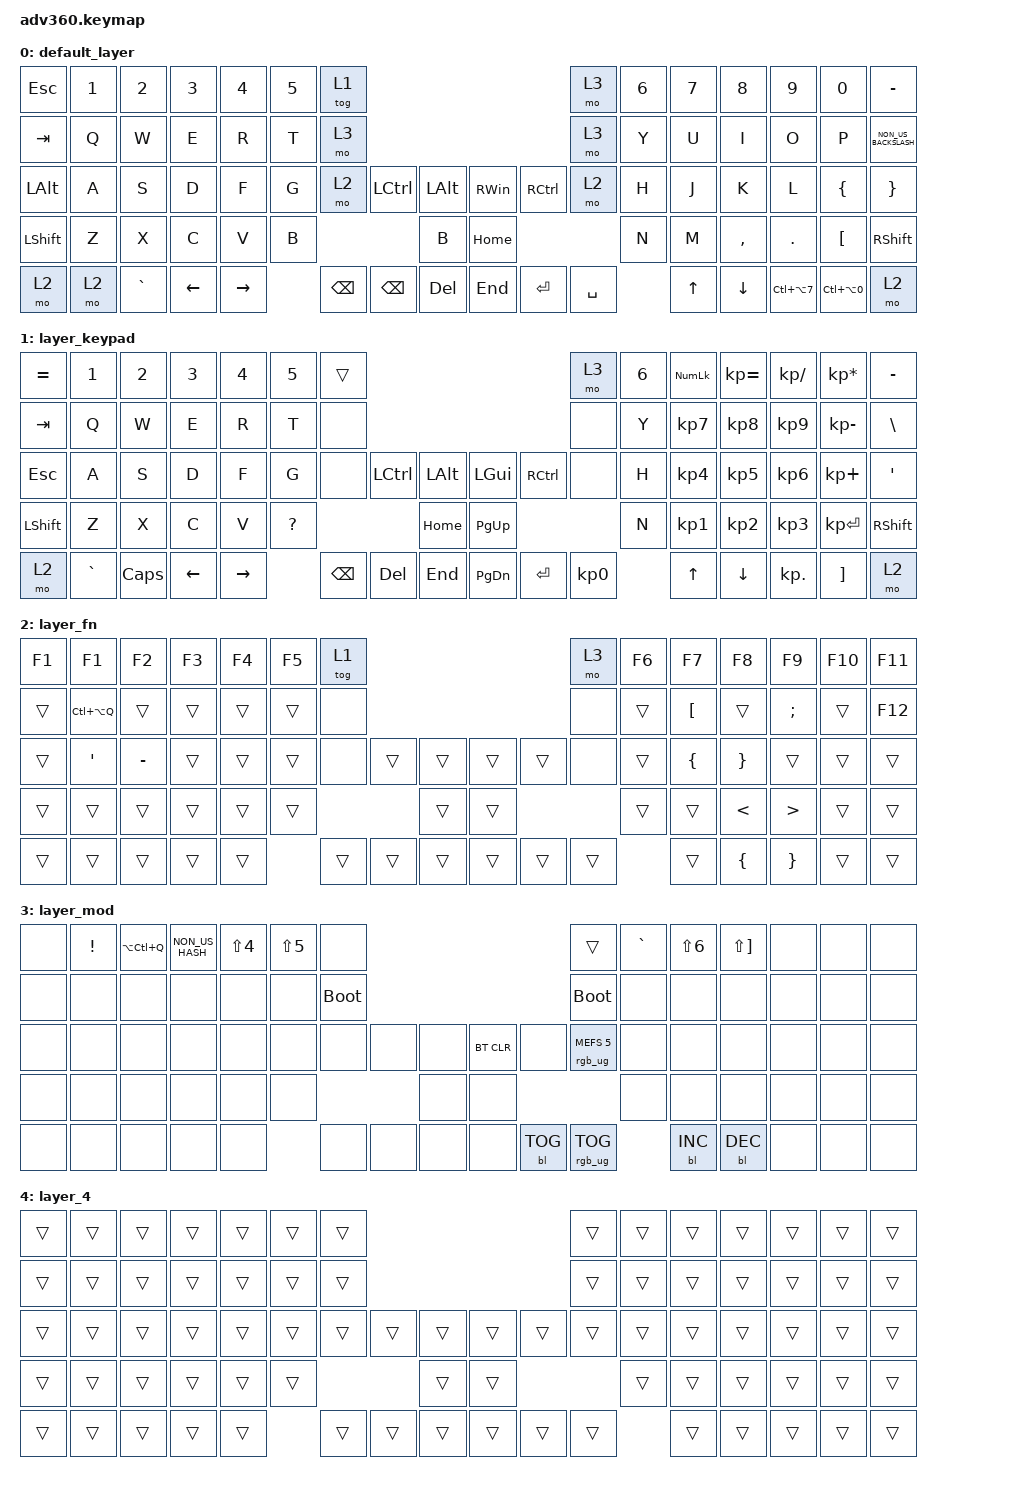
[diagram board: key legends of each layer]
/*
 * Copyright (c) 2020 The ZMK Contributors
 *
 * SPDX-License-Identifier: MIT
 */
/* THIS FILE WAS GENERATED!
 *
 * This file was generated automatically. You may or may not want to
 * edit it directly.
 */

#include <behaviors.dtsi>
#include <dt-bindings/zmk/backlight.h>
#include <dt-bindings/zmk/bt.h>
#include <dt-bindings/zmk/keys.h>
#include <dt-bindings/zmk/rgb.h>

/ {
    behaviors {
        #include "macros.dtsi"

        hm: homerow_mods {
            compatible = "zmk,behavior-hold-tap";
            label = "HOMEROW_MODS";
            #binding-cells = <2>;
            tapping-term-ms = <200>;
            quick_tap_ms = <175>;
            flavor = "tap-preferred";
            bindings = <&kp>, <&kp>;
        };
    };

    macros {
        taskmanager: taskmanager {
            compatible = "zmk,behavior-macro";
            #binding-cells = <0>;
            bindings = <&sk LEFT_WIN &kp R>;
            label = "TASKMANAGER";
        };

        test: test {
            compatible = "zmk,behavior-macro";
            #binding-cells = <0>;
            bindings = <&kp LS(I) &kp C &kp H>;
            label = "TEST";
        };

        alttab: alttab {
            compatible = "zmk,behavior-macro";
            #binding-cells = <0>;
            bindings = <&sk LEFT_ALT &kp TAB>;
            label = "ALTTAB";
        };

        leftBracket: leftBracket {
            compatible = "zmk,behavior-macro";
            #binding-cells = <0>;
            bindings = <&kp LA(LC(N8))>;
            label = "LEFTBRACKET";
        };

        rightBracket: rightBracket {
            compatible = "zmk,behavior-macro";
            #binding-cells = <0>;
            bindings = <&kp LC(LA(N9))>;
            label = "RIGHTBRACKET";
        };
    };

    combos {
        compatible = "zmk,combos";

        taskmanager {
            bindings = <&taskmanager>;
            key-positions = <32 41>;
        };

        leftBracket {
            bindings = <&leftBracket>;
            key-positions = <46 73>;
        };

        rightBracket {
            bindings = <&rightBracket>;
            key-positions = <46 74>;
        };
    };

    keymap {
        compatible = "zmk,keymap";

        default_layer {
            bindings = <
&kp ESCAPE      &kp N1  &kp N2     &kp N3    &kp N4     &kp N5  &tog 1                                                                               &mo 3      &kp N6  &kp N7        &kp N8     &kp N9          &kp N0            &kp MINUS
&kp TAB         &kp Q   &kp W      &kp E     &kp R      &kp T   &mo 3                                                                                &mo 3      &kp Y   &kp U         &kp I      &kp O           &kp P             &kp NON_US_BACKSLASH
&kp LEFT_ALT    &kp A   &kp S      &kp D     &kp F      &kp G   &mo 2          &kp LEFT_CONTROL  &kp LEFT_ALT      &kp RIGHT_WIN  &kp RIGHT_CONTROL  &mo 2      &kp H   &kp J         &kp K      &kp L           &kp LEFT_BRACE    &kp RIGHT_BRACE
&kp LEFT_SHIFT  &kp Z   &kp X      &kp C     &kp V      &kp B                                    &kp B             &kp HOME                                     &kp N   &kp M         &kp COMMA  &kp DOT         &kp LEFT_BRACKET  &kp RIGHT_SHIFT
&mo 2           &mo 2   &kp GRAVE  &kp LEFT  &kp RIGHT          &kp BACKSPACE  &kp BSPC          &kp DEL           &kp END        &kp ENTER          &kp SPACE          &kp UP_ARROW  &kp DOWN   &kp LC(LA(N7))  &kp LC(LA(N0))    &mo 2
            >;
        };

        layer_keypad {
            bindings = <
&kp EQUAL  &kp N1     &kp N2    &kp N3    &kp N4     &kp N5        &trans                                                   &mo 3      &kp N6  &kp KP_NUM  &kp KP_EQUAL  &kp KP_DIVIDE  &kp KP_MULTIPLY  &kp MINUS
&kp TAB    &kp Q      &kp W     &kp E     &kp R      &kp T         &none                                                    &none      &kp Y   &kp KP_N7   &kp KP_N8     &kp KP_N9      &kp KP_MINUS     &kp BSLH
&kp ESC    &kp A      &kp S     &kp D     &kp F      &kp G         &none     &kp LCTRL  &kp LALT      &kp LGUI   &kp RCTRL  &none      &kp H   &kp KP_N4   &kp KP_N5     &kp KP_N6      &kp KP_PLUS      &kp SQT
&kp LSHFT  &kp Z      &kp X     &kp C     &kp V      &kp QUESTION                       &kp HOME      &kp PG_UP                        &kp N   &kp KP_N1   &kp KP_N2     &kp KP_N3      &kp KP_ENTER     &kp RSHFT
&mo 2      &kp GRAVE  &kp CAPS  &kp LEFT  &kp RIGHT                &kp BSPC  &kp DEL    &kp END       &kp PG_DN  &kp ENTER  &kp KP_N0          &kp UP      &kp DOWN      &kp KP_DOT     &kp RBKT         &mo 2
            >;
        };

        layer_fn {
            bindings = <
&kp F1  &kp F1         &kp F2     &kp F3  &kp F4  &kp F5  &tog 1                                      &mo 3   &kp F6  &kp F7            &kp F8           &kp F9            &kp F10  &kp F11
&trans  &kp LC(LA(Q))  &trans     &trans  &trans  &trans  &none                                       &none   &trans  &kp LEFT_BRACKET  &trans           &kp SEMICOLON     &trans   &kp F12
&trans  &kp SQT        &kp MINUS  &trans  &trans  &trans  &none   &trans  &trans      &trans  &trans  &none   &trans  &kp LEFT_BRACE    &kp RIGHT_BRACE  &trans            &trans   &trans
&trans  &trans         &trans     &trans  &trans  &trans                  &trans      &trans                  &trans  &trans            &kp LESS_THAN    &kp GREATER_THAN  &trans   &trans
&trans  &trans         &trans     &trans  &trans          &trans  &trans  &trans      &trans  &trans  &trans          &trans            &kp LEFT_BRACE   &kp RIGHT_BRACE   &trans   &trans
            >;
        };

        layer_mod {
            bindings = <
&none  &kp EXCLAMATION  &kp LA(LC(Q))  &kp NON_US_HASH  &kp LS(N4)  &kp LS(N5)  &none                                                  &trans                  &kp GRAVE  &kp LS(NUMBER_6)  &kp LS(RIGHT_BRACKET)  &none  &none  &none
&none  &none            &none          &none            &none       &none       &bootloader                                            &bootloader             &none      &none             &none                  &none  &none  &none
&none  &none            &none          &none            &none       &none       &none        &none  &none      &bt BT_CLR  &none       &rgb_ug RGB_MEFS_CMD 5  &none      &none             &none                  &none  &none  &none
&none  &none            &none          &none            &none       &none                           &none      &none                                           &none      &none             &none                  &none  &none  &none
&none  &none            &none          &none            &none                   &none        &none  &none      &none       &bl BL_TOG  &rgb_ug RGB_TOG                    &bl BL_INC        &bl BL_DEC             &none  &none  &none
            >;
        };

        layer_4 {
            bindings = <
&trans  &trans  &trans  &trans  &trans  &trans  &trans                                      &trans  &trans  &trans  &trans  &trans  &trans  &trans
&trans  &trans  &trans  &trans  &trans  &trans  &trans                                      &trans  &trans  &trans  &trans  &trans  &trans  &trans
&trans  &trans  &trans  &trans  &trans  &trans  &trans  &trans  &trans      &trans  &trans  &trans  &trans  &trans  &trans  &trans  &trans  &trans
&trans  &trans  &trans  &trans  &trans  &trans                  &trans      &trans                  &trans  &trans  &trans  &trans  &trans  &trans
&trans  &trans  &trans  &trans  &trans          &trans  &trans  &trans      &trans  &trans  &trans          &trans  &trans  &trans  &trans  &trans
            >;
        };
    };
};
